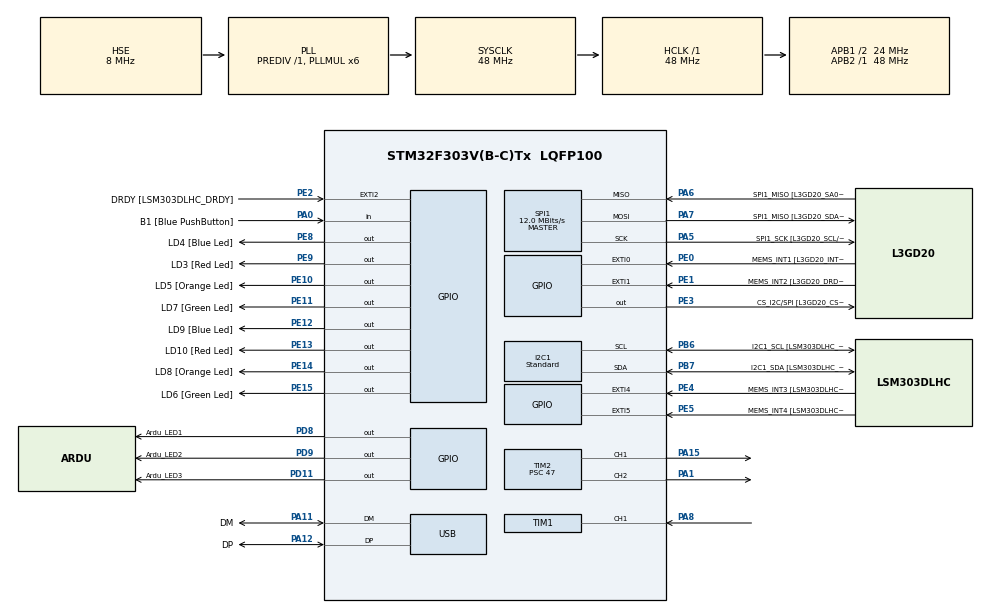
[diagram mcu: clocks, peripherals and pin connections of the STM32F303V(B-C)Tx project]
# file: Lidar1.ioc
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I2C1.I2C_Speed_Mode=I2C_Standard
I2C1.Speed=100
I2C1.Timing-I2C=0x2000090E
Mcu.Family=STM32F3
Mcu.Name=STM32F303V(B-C)Tx
Mcu.Package=LQFP100
NVIC.PriorityGroup=NVIC_PRIORITYGROUP_0
NVIC.TIM1_CC_IRQn=true\:0\:0\:false\:false\:true\:true\:true\:true
NVIC.TIM2_IRQn=true\:0\:0\:false\:false\:true\:true\:true\:true
PA0.GPIO_Label=B1 [Blue PushButton]
PA0.Signal=GPIO_Input
PA1.Signal=S_TIM2_CH2
PA11.GPIO_Label=DM
PA11.Mode=Device
PA11.Signal=USB_DM
PA12.GPIO_Label=DP
PA12.Mode=Device
PA12.Signal=USB_DP
PA13.GPIO_Label=SWDIO
PA13.Mode=Serial_Wire
PA13.Signal=SYS_JTMS-SWDIO
PA14.GPIO_Label=SWCLK
PA14.Mode=Serial_Wire
PA14.Signal=SYS_JTCK-SWCLK
PA15.Signal=S_TIM2_CH1_ETR
PA5.GPIO_Label=SPI1_SCK [L3GD20_SCL/SPC]
PA5.Mode=Full_Duplex_Master
PA5.Signal=SPI1_SCK
PA6.GPIO_Label=SPI1_MISO [L3GD20_SA0/SDO]
PA6.Mode=Full_Duplex_Master
PA6.Signal=SPI1_MISO
PA7.GPIO_Label=SPI1_MISO [L3GD20_SDA/SDI/SDO]
PA7.Mode=Full_Duplex_Master
PA7.Signal=SPI1_MOSI
PA8.Signal=S_TIM1_CH1
PB3.GPIO_Label=SWO
PB3.Signal=SYS_JTDO-TRACESWO
PB6.GPIO_Label=I2C1_SCL [LSM303DLHC_SCL]
PB6.GPIO_Pu=GPIO_PULLUP
PB6.Mode=I2C
PB6.Signal=I2C1_SCL
PB7.GPIO_Label=I2C1_SDA [LSM303DLHC_SDA]
PB7.GPIO_Pu=GPIO_PULLUP
PB7.Mode=I2C
PB7.Signal=I2C1_SDA
PC14-OSC32_IN.GPIO_Label=OSC32_IN
PC14-OSC32_IN.Signal=RCC_OSC32_IN
PC15-OSC32_OUT.GPIO_Label=OSC32_OUT
PC15-OSC32_OUT.Signal=RCC_OSC32_OUT
PD11.GPIO_Label=Ardu_LED3
PD11.Signal=GPIO_Output
PD8.GPIO_Label=Ardu_LED1
PD8.Signal=GPIO_Output
PD9.GPIO_Label=Ardu_LED2
PD9.Signal=GPIO_Output
PE0.GPIO_Label=MEMS_INT1 [L3GD20_INT1]
PE0.GPIO_ModeDefaultEXTI=GPIO_MODE_EVT_RISING
PE0.Signal=GPXTI0
PE1.GPIO_Label=MEMS_INT2 [L3GD20_DRDY/INT2]
PE1.GPIO_ModeDefaultEXTI=GPIO_MODE_EVT_RISING
PE1.Signal=GPXTI1
PE10.GPIO_Label=LD5 [Orange Led]
PE10.Signal=GPIO_Output
PE11.GPIO_Label=LD7 [Green Led]
PE11.Signal=GPIO_Output
PE12.GPIO_Label=LD9 [Blue Led]
PE12.Signal=GPIO_Output
PE13.GPIO_Label=LD10 [Red Led]
PE13.Signal=GPIO_Output
PE14.GPIO_Label=LD8 [Orange Led]
PE14.Signal=GPIO_Output
PE15.GPIO_Label=LD6 [Green Led]
PE15.Signal=GPIO_Output
PE2.GPIO_Label=DRDY [LSM303DLHC_DRDY]
PE2.GPIO_ModeDefaultEXTI=GPIO_MODE_EVT_RISING
PE2.Signal=GPXTI2
PE3.GPIO_Label=CS_I2C/SPI [L3GD20_CS_I2C/SPI]
PE3.Signal=GPIO_Output
PE4.GPIO_Label=MEMS_INT3 [LSM303DLHC_INT1]
PE4.GPIO_ModeDefaultEXTI=GPIO_MODE_EVT_RISING
PE4.Signal=GPXTI4
PE5.GPIO_Label=MEMS_INT4 [LSM303DLHC_INT2]
PE5.GPIO_ModeDefaultEXTI=GPIO_MODE_EVT_RISING
PE5.Signal=GPXTI5
PE8.GPIO_Label=LD4 [Blue Led]
PE8.Signal=GPIO_Output
PE9.GPIO_Label=LD3 [Red Led]
PE9.Signal=GPIO_Output
PF0-OSC_IN.GPIO_Label=OSC_IN
PF0-OSC_IN.Mode=HSE-External-Clock-Source
PF0-OSC_IN.Signal=RCC_OSC_IN
PF1-OSC_OUT.GPIO_Label=OSC_OUT
PF1-OSC_OUT.Signal=RCC_OSC_OUT
ProjectManager.HeapSize=0x200
ProjectManager.StackSize=0x400
ProjectManager.TargetToolchain=STM32CubeIDE
RCC.AHBFreq_Value=48000000
RCC.APB1CLKDivider=RCC_HCLK_DIV2
RCC.APB1Freq_Value=24000000
RCC.APB1TimFreq_Value=48000000
RCC.APB2Freq_Value=48000000
RCC.APB2TimFreq_Value=48000000
RCC.CortexFreq_Value=48000000
RCC.HCLKFreq_Value=48000000
RCC.HSE_VALUE=8000000
RCC.HSI_VALUE=8000000
RCC.LSE_VALUE=32768
RCC.PLLMUL=RCC_PLL_MUL6
RCC.SYSCLKFreq_VALUE=48000000
RCC.SYSCLKSourceVirtual=RCC_SYSCLKSOURCE_PLLCLK
RCC.USBFreq_Value=48000000
SH.S_TIM1_CH1.0=TIM1_CH1,Input_Capture1_from_TI1
SH.S_TIM2_CH1_ETR.0=TIM2_CH1,PWM Generation1 CH1
SH.S_TIM2_CH2.0=TIM2_CH2,PWM Generation2 CH2
SPI1.BaudRatePrescaler=SPI_BAUDRATEPRESCALER_4
SPI1.BaudRatePrescaler-Full_Duplex_Master=SPI_BAUDRATEPRESCALER_2
SPI1.CalculateBaudRate=12.0 MBits/s
SPI1.CalculateBaudRate-Full_Duplex_Master=24.0 MBits/s
SPI1.Direction=SPI_DIRECTION_2LINES
SPI1.Mode=SPI_MODE_MASTER
SPI1.Mode-Full_Duplex_Master=SPI_MODE_MASTER
SPI1.VirtualType=VM_MASTER
TIM1.Channel-Input_Capture1_from_TI1=TIM_CHANNEL_1
TIM1.ICPolarity_CH1=TIM_INPUTCHANNELPOLARITY_BOTHEDGE
TIM1.Prescaler=47
TIM2.AutoReloadPreload=TIM_AUTORELOAD_PRELOAD_ENABLE
TIM2.Channel-PWM\ Generation1\ CH1=TIM_CHANNEL_1
TIM2.Channel-PWM\ Generation2\ CH2=TIM_CHANNEL_2
TIM2.Period=20000
TIM2.Prescaler=47
TIM2.Pulse-PWM\ Generation1\ CH1=2000
TIM2.Pulse-PWM\ Generation2\ CH2=2000
VP_TIM1_VS_ClockSourceINT.Mode=Internal
board=STM32F3DISCOVERY

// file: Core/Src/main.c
/* USER CODE BEGIN Header */
/**
 ******************************************************************************
 * @file           : main.c
 * @brief          : Main program body
 ******************************************************************************
 * @attention
 *
 * Copyright (c) 2023 STMicroelectronics.
 * All rights reserved.
 *
 * This software is licensed under terms that can be found in the LICENSE file
 * in the root directory of this software component.
 * If no LICENSE file comes with this software, it is provided AS-IS.
 *
 ******************************************************************************
 */
/* USER CODE END Header */
#include "main.h"

/* USER CODE BEGIN Includes */

#include "ptu_definitions.h"
#include "ptu_i2c.h"
#include "serial.h"
#include "serialise.h"

#include "math.h"

/* USER CODE END Includes */

I2C_HandleTypeDef hi2c1;

SPI_HandleTypeDef hspi1;

TIM_HandleTypeDef htim1;
TIM_HandleTypeDef htim2;

PCD_HandleTypeDef hpcd_USB_FS;

void SystemClock_Config(void);
static void MX_GPIO_Init(void);
static void MX_I2C1_Init(void);
static void MX_SPI1_Init(void);
static void MX_USB_PCD_Init(void);
static void MX_TIM2_Init(void);
static void MX_TIM1_Init(void);

/* USER CODE BEGIN 0 */

// enable the clocks for desired peripherals (GPIOA, C and E)
void enable_clocks() {
	RCC->AHBENR |= RCC_AHBENR_GPIOAEN | RCC_AHBENR_GPIOCEN | RCC_AHBENR_GPIOEEN;
}

// initialise the discovery board I/O (just outputs: inputs are selected by default)
void initialise_board() {
	// get a pointer to the second half word of the MODER register (for outputs pe8-15)
	uint16_t *led_output_registers = ((uint16_t *)&(GPIOE->MODER)) + 1;
	*led_output_registers = 0x5555;
}

typedef union {
	uint8_t all_leds;
	struct {
		uint8_t led_pair_1 : 2;
		uint8_t led_pair_2 : 2;
		uint8_t led_set_of_4 : 4;
	} led_groups;
} LedRegister;

uint16_t last_capture = 0;
uint16_t diff = 0;

uint16_t rise_time = 0;
uint16_t last_period = 0;

void HAL_TIM_IC_CaptureCallback(TIM_HandleTypeDef *htim)
{
	uint8_t buffer[32];
	if (htim->Instance == TIM1 && htim->Channel == HAL_TIM_ACTIVE_CHANNEL_1)
	{
		uint16_t IC_Val1 = HAL_TIM_ReadCapturedValue(htim, TIM_CHANNEL_1); // read the first value

		if (HAL_GPIO_ReadPin(GPIOA, GPIO_PIN_8) == 1)
			rise_time = IC_Val1;
		else
			last_period = IC_Val1 - rise_time;

		diff = IC_Val1 - last_capture;
		last_capture = IC_Val1;
	}
}

typedef struct {
	uint8_t var1;
	uint32_t var2;
	uint8_t var3;
	uint32_t var4;
	uint8_t var5;
	uint8_t var6;
} struct_1;

typedef struct {
	uint32_t var2;
	uint32_t var4;
	uint8_t var1;
	uint8_t var3;
	uint8_t var5;
	uint8_t var6;
} struct_2;

/* USER CODE END 0 */

int main(void)
{
  /* USER CODE BEGIN 1 */

	// look at the size difference between these structs,
	//  they are because the 32 bit microcontroller
	//  packs the data so the divisions are in groups
	//  of 4bytes (4bytes=32bit)
	uint8_t size_1 = sizeof(struct_1);
	uint8_t size_2 = sizeof(struct_2);

	uint8_t string_to_send[64] = "This is a string !\r\n";

	enable_clocks();
	initialise_board();

	LedRegister *led_register = ((uint8_t*)&(GPIOE->ODR)) + 1;

	SerialInitialise(BAUD_115200, &USART1_PORT, 0x00);

	HAL_StatusTypeDef return_value = 0x00;

	volatile uint16_t vertical_PWM = 1000;
	volatile uint16_t horizontal_PWM = 1000;

  /* USER CODE END 1 */

  /* MCU Configuration--------------------------------------------------------*/

  /* Reset of all peripherals, Initializes the Flash interface and the Systick. */
	HAL_Init();
	SystemClock_Config();
	MX_GPIO_Init();
	MX_I2C1_Init();
    MX_SPI1_Init();
    MX_USB_PCD_Init();
    MX_TIM2_Init();
    MX_TIM1_Init();

	HAL_TIM_PWM_Start(&htim2, TIM_CHANNEL_1);
	HAL_TIM_PWM_Start(&htim2, TIM_CHANNEL_2);

	HAL_TIM_IC_Start_IT(&htim1, TIM_CHANNEL_1);

	// TIM 2 is setup with a prescaler that makes 1 count = 1 microsecond
	// Even with HAL, you can still set the values yourself
	TIM2->ARR = 20000; // 20000 = 20ms, which is the desired clock period for servos
	TIM2->CR1 |= TIM_CR1_ARPE; // this makes the timing not change until the next pulse is finished

	// note: for PWM if you continually change the clock period
	// you can get unexpected results. To remove this, set ARPE so that the
	// ARR settings are not activated until the next cycle.

	initialise_ptu_i2c(&hi2c1);

  /* USER CODE END 2 */

  /* Infinite loop */
  /* USER CODE BEGIN WHILE */
	// reset lidar board
	uint8_t reset_value = 0x00;
	return_value = HAL_I2C_Mem_Write(&hi2c1, LIDAR_WR, 0x00, 1, &reset_value, 1, 10);

	uint8_t PWM_direction_clockwise = 1;

	// delay for initialisation of the lidar
	HAL_Delay(100);

	int count=0;
	int distance=0;
	int flag=0;
	int actuality=0;

	while (flag != 1)
	{

		uint8_t lidar_value = 0x03;
		return_value = HAL_I2C_Mem_Write(&hi2c1, LIDAR_WR, 0x00, 1, &lidar_value, 1, 100);

		lidar_value = 0xff;

		uint8_t lidar_MSBa = 0x00;
		uint8_t lidar_LSBa = 0x00;

		volatile uint16_t lidar_distance = 0xff;

		uint16_t timeout;

		while ((lidar_value & 0x01) != 0x00) {
			return_value = HAL_I2C_Mem_Read(&hi2c1, LIDAR_RD, 0x01, 1, &lidar_value, 1, 100);

			return_value = HAL_I2C_Mem_Read(&hi2c1, LIDAR_RD, 0x0f, 1, &lidar_MSBa, 1, 100);
			return_value = HAL_I2C_Mem_Read(&hi2c1, LIDAR_RD, 0x10, 1, &lidar_LSBa, 1, 100);

			lidar_distance = ((lidar_MSBa << 8) | lidar_LSBa);
			timeout += 1;
			if (timeout > 0xff)
				break;
		}

		if (last_period > 4000)
			last_period = 5000;
		if (lidar_distance > 4000)
			lidar_distance = 5500;
		for (int i = 0; i < 10; i++)
		{
		  HAL_Delay(1);
		}

		distance = distance + lidar_distance;
		//distance=600;
		//count=10;
		if (count==10)
		{
			actuality= distance / 10;
			HAL_GPIO_WritePin(GPIOD,Ardu_LED2_Pin, GPIO_PIN_RESET);
			HAL_GPIO_WritePin(GPIOD,Ardu_LED3_Pin, GPIO_PIN_RESET);
			if(actuality >= 30 && actuality <= 50)
			{
				HAL_GPIO_WritePin(GPIOD,Ardu_LED1_Pin, GPIO_PIN_SET);
				//
				uint8_t ok_message[32] = "Correct\n";
				SerialOutputString(ok_message, &USART1_PORT);
				flag=1;
			}
			else if(actuality < 25)
			{
				HAL_GPIO_WritePin(GPIOD,Ardu_LED2_Pin, GPIO_PIN_SET);
				//
				uint8_t under_message[32] = "Too Close\n";
				SerialOutputString(under_message, &USART1_PORT);
			}
			else if(actuality > 55)
			{
				HAL_GPIO_WritePin(GPIOD,Ardu_LED3_Pin, GPIO_PIN_SET);
				//
				uint8_t overr_message[32] = "Too Far\n";
				SerialOutputString(over_message, &USART1_PORT);
			}
			count=0;
			actuality=0;
			distance=0;
		}
		count++;
	}
	while(1);

}
void SystemClock_Config(void)
{
  RCC_OscInitTypeDef RCC_OscInitStruct = {0};
  RCC_ClkInitTypeDef RCC_ClkInitStruct = {0};
  RCC_PeriphCLKInitTypeDef PeriphClkInit = {0};

  /** Initializes the RCC Oscillators according to the specified parameters
  * in the RCC_OscInitTypeDef structure.
  */
  RCC_OscInitStruct.OscillatorType = RCC_OSCILLATORTYPE_HSI|RCC_OSCILLATORTYPE_HSE;
  RCC_OscInitStruct.HSEState = RCC_HSE_BYPASS;
  RCC_OscInitStruct.HSEPredivValue = RCC_HSE_PREDIV_DIV1;
  RCC_OscInitStruct.HSIState = RCC_HSI_ON;
  RCC_OscInitStruct.HSICalibrationValue = RCC_HSICALIBRATION_DEFAULT;
  RCC_OscInitStruct.PLL.PLLState = RCC_PLL_ON;
  RCC_OscInitStruct.PLL.PLLSource = RCC_PLLSOURCE_HSE;
  RCC_OscInitStruct.PLL.PLLMUL = RCC_PLL_MUL6;
  if (HAL_RCC_OscConfig(&RCC_OscInitStruct) != HAL_OK)
  {
    Error_Handler();
  }

  /** Initializes the CPU, AHB and APB buses clocks
  */
  RCC_ClkInitStruct.ClockType = RCC_CLOCKTYPE_HCLK|RCC_CLOCKTYPE_SYSCLK
                              |RCC_CLOCKTYPE_PCLK1|RCC_CLOCKTYPE_PCLK2;
  RCC_ClkInitStruct.SYSCLKSource = RCC_SYSCLKSOURCE_PLLCLK;
  RCC_ClkInitStruct.AHBCLKDivider = RCC_SYSCLK_DIV1;
  RCC_ClkInitStruct.APB1CLKDivider = RCC_HCLK_DIV2;
  RCC_ClkInitStruct.APB2CLKDivider = RCC_HCLK_DIV1;

  if (HAL_RCC_ClockConfig(&RCC_ClkInitStruct, FLASH_LATENCY_1) != HAL_OK)
  {
    Error_Handler();
  }
  PeriphClkInit.PeriphClockSelection = RCC_PERIPHCLK_USB|RCC_PERIPHCLK_I2C1
                              |RCC_PERIPHCLK_TIM1;
  PeriphClkInit.I2c1ClockSelection = RCC_I2C1CLKSOURCE_HSI;
  PeriphClkInit.USBClockSelection = RCC_USBCLKSOURCE_PLL;
  PeriphClkInit.Tim1ClockSelection = RCC_TIM1CLK_HCLK;
  if (HAL_RCCEx_PeriphCLKConfig(&PeriphClkInit) != HAL_OK)
  {
    Error_Handler();
  }
}

static void MX_I2C1_Init(void)
{

  hi2c1.Instance = I2C1;
  hi2c1.Init.Timing = 0x2000090E;
  hi2c1.Init.OwnAddress1 = 0;
  hi2c1.Init.AddressingMode = I2C_ADDRESSINGMODE_7BIT;
  hi2c1.Init.DualAddressMode = I2C_DUALADDRESS_DISABLE;
  hi2c1.Init.OwnAddress2 = 0;
  hi2c1.Init.OwnAddress2Masks = I2C_OA2_NOMASK;
  hi2c1.Init.GeneralCallMode = I2C_GENERALCALL_DISABLE;
  hi2c1.Init.NoStretchMode = I2C_NOSTRETCH_DISABLE;
  if (HAL_I2C_Init(&hi2c1) != HAL_OK)
  {
    Error_Handler();
  }

  /** Configure Analogue filter
  */
  if (HAL_I2CEx_ConfigAnalogFilter(&hi2c1, I2C_ANALOGFILTER_ENABLE) != HAL_OK)
  {
    Error_Handler();
  }

  /** Configure Digital filter
  */
  if (HAL_I2CEx_ConfigDigitalFilter(&hi2c1, 0) != HAL_OK)
  {
    Error_Handler();
  }

}

static void MX_SPI1_Init(void)
{

  /* SPI1 parameter configuration*/
  hspi1.Instance = SPI1;
  hspi1.Init.Mode = SPI_MODE_MASTER;
  hspi1.Init.Direction = SPI_DIRECTION_2LINES;
  hspi1.Init.DataSize = SPI_DATASIZE_4BIT;
  hspi1.Init.CLKPolarity = SPI_POLARITY_LOW;
  hspi1.Init.CLKPhase = SPI_PHASE_1EDGE;
  hspi1.Init.NSS = SPI_NSS_SOFT;
  hspi1.Init.BaudRatePrescaler = SPI_BAUDRATEPRESCALER_4;
  hspi1.Init.FirstBit = SPI_FIRSTBIT_MSB;
  hspi1.Init.TIMode = SPI_TIMODE_DISABLE;
  hspi1.Init.CRCCalculation = SPI_CRCCALCULATION_DISABLE;
  hspi1.Init.CRCPolynomial = 7;
  hspi1.Init.CRCLength = SPI_CRC_LENGTH_DATASIZE;
  hspi1.Init.NSSPMode = SPI_NSS_PULSE_ENABLE;
  if (HAL_SPI_Init(&hspi1) != HAL_OK)
  {
    Error_Handler();
  }

}

static void MX_TIM1_Init(void)
{

  TIM_ClockConfigTypeDef sClockSourceConfig = {0};
  TIM_MasterConfigTypeDef sMasterConfig = {0};
  TIM_IC_InitTypeDef sConfigIC = {0};

  htim1.Instance = TIM1;
  htim1.Init.Prescaler = 47;
  htim1.Init.CounterMode = TIM_COUNTERMODE_UP;
  htim1.Init.Period = 65535;
  htim1.Init.ClockDivision = TIM_CLOCKDIVISION_DIV1;
  htim1.Init.RepetitionCounter = 0;
  htim1.Init.AutoReloadPreload = TIM_AUTORELOAD_PRELOAD_DISABLE;
  if (HAL_TIM_Base_Init(&htim1) != HAL_OK)
  {
    Error_Handler();
  }
  sClockSourceConfig.ClockSource = TIM_CLOCKSOURCE_INTERNAL;
  if (HAL_TIM_ConfigClockSource(&htim1, &sClockSourceConfig) != HAL_OK)
  {
    Error_Handler();
  }
  if (HAL_TIM_IC_Init(&htim1) != HAL_OK)
  {
    Error_Handler();
  }
  sMasterConfig.MasterOutputTrigger = TIM_TRGO_RESET;
  sMasterConfig.MasterOutputTrigger2 = TIM_TRGO2_RESET;
  sMasterConfig.MasterSlaveMode = TIM_MASTERSLAVEMODE_DISABLE;
  if (HAL_TIMEx_MasterConfigSynchronization(&htim1, &sMasterConfig) != HAL_OK)
  {
    Error_Handler();
  }
  sConfigIC.ICPolarity = TIM_INPUTCHANNELPOLARITY_BOTHEDGE;
  sConfigIC.ICSelection = TIM_ICSELECTION_DIRECTTI;
  sConfigIC.ICPrescaler = TIM_ICPSC_DIV1;
  sConfigIC.ICFilter = 0;
  if (HAL_TIM_IC_ConfigChannel(&htim1, &sConfigIC, TIM_CHANNEL_1) != HAL_OK)
  {
    Error_Handler();
  }

}

static void MX_TIM2_Init(void)
{

  TIM_MasterConfigTypeDef sMasterConfig = {0};
  TIM_OC_InitTypeDef sConfigOC = {0};

  htim2.Instance = TIM2;
  htim2.Init.Prescaler = 47;
  htim2.Init.CounterMode = TIM_COUNTERMODE_UP;
  htim2.Init.Period = 20000;
  htim2.Init.ClockDivision = TIM_CLOCKDIVISION_DIV1;
  htim2.Init.AutoReloadPreload = TIM_AUTORELOAD_PRELOAD_ENABLE;
  if (HAL_TIM_PWM_Init(&htim2) != HAL_OK)
  {
    Error_Handler();
  }
  sMasterConfig.MasterOutputTrigger = TIM_TRGO_RESET;
  sMasterConfig.MasterSlaveMode = TIM_MASTERSLAVEMODE_DISABLE;
  if (HAL_TIMEx_MasterConfigSynchronization(&htim2, &sMasterConfig) != HAL_OK)
  {
    Error_Handler();
  }
  sConfigOC.OCMode = TIM_OCMODE_PWM1;
  sConfigOC.Pulse = 2000;
  sConfigOC.OCPolarity = TIM_OCPOLARITY_HIGH;
  sConfigOC.OCFastMode = TIM_OCFAST_DISABLE;
  if (HAL_TIM_PWM_ConfigChannel(&htim2, &sConfigOC, TIM_CHANNEL_1) != HAL_OK)
  {
    Error_Handler();
  }
  if (HAL_TIM_PWM_ConfigChannel(&htim2, &sConfigOC, TIM_CHANNEL_2) != HAL_OK)
  {
    Error_Handler();
  }
  HAL_TIM_MspPostInit(&htim2);

}

static void MX_USB_PCD_Init(void)
{

  hpcd_USB_FS.Instance = USB;
  hpcd_USB_FS.Init.dev_endpoints = 8;
  hpcd_USB_FS.Init.speed = PCD_SPEED_FULL;
  hpcd_USB_FS.Init.phy_itface = PCD_PHY_EMBEDDED;
  hpcd_USB_FS.Init.low_power_enable = DISABLE;
  hpcd_USB_FS.Init.battery_charging_enable = DISABLE;
  if (HAL_PCD_Init(&hpcd_USB_FS) != HAL_OK)
  {
    Error_Handler();
  }

}

static void MX_GPIO_Init(void)
{
  GPIO_InitTypeDef GPIO_InitStruct = {0};

  /* GPIO Ports Clock Enable */
  __HAL_RCC_GPIOE_CLK_ENABLE();
  __HAL_RCC_GPIOC_CLK_ENABLE();
  __HAL_RCC_GPIOF_CLK_ENABLE();
  __HAL_RCC_GPIOA_CLK_ENABLE();
  __HAL_RCC_GPIOD_CLK_ENABLE();
  __HAL_RCC_GPIOB_CLK_ENABLE();

  /*Configure GPIO pin Output Level */
  HAL_GPIO_WritePin(GPIOE, CS_I2C_SPI_Pin|LD4_Pin|LD3_Pin|LD5_Pin
                          |LD7_Pin|LD9_Pin|LD10_Pin|LD8_Pin
                          |LD6_Pin, GPIO_PIN_RESET);

  /*Configure GPIO pin Output Level */
  HAL_GPIO_WritePin(GPIOD, Ardu_LED1_Pin|Ardu_LED2_Pin|Ardu_LED3_Pin, GPIO_PIN_RESET);

  /*Configure GPIO pins : DRDY_Pin MEMS_INT3_Pin MEMS_INT4_Pin MEMS_INT1_Pin
                           MEMS_INT2_Pin */
  GPIO_InitStruct.Pin = DRDY_Pin|MEMS_INT3_Pin|MEMS_INT4_Pin|MEMS_INT1_Pin
                          |MEMS_INT2_Pin;
  GPIO_InitStruct.Mode = GPIO_MODE_EVT_RISING;
  GPIO_InitStruct.Pull = GPIO_NOPULL;
  HAL_GPIO_Init(GPIOE, &GPIO_InitStruct);

  /*Configure GPIO pins : CS_I2C_SPI_Pin LD4_Pin LD3_Pin LD5_Pin
                           LD7_Pin LD9_Pin LD10_Pin LD8_Pin
                           LD6_Pin */
  GPIO_InitStruct.Pin = CS_I2C_SPI_Pin|LD4_Pin|LD3_Pin|LD5_Pin
                          |LD7_Pin|LD9_Pin|LD10_Pin|LD8_Pin
                          |LD6_Pin;
  GPIO_InitStruct.Mode = GPIO_MODE_OUTPUT_PP;
  GPIO_InitStruct.Pull = GPIO_NOPULL;
  GPIO_InitStruct.Speed = GPIO_SPEED_FREQ_LOW;
  HAL_GPIO_Init(GPIOE, &GPIO_InitStruct);

  /*Configure GPIO pin : B1_Pin */
  GPIO_InitStruct.Pin = B1_Pin;
  GPIO_InitStruct.Mode = GPIO_MODE_INPUT;
  GPIO_InitStruct.Pull = GPIO_NOPULL;
  HAL_GPIO_Init(B1_GPIO_Port, &GPIO_InitStruct);

  /*Configure GPIO pins : Ardu_LED1_Pin Ardu_LED2_Pin Ardu_LED3_Pin */
  GPIO_InitStruct.Pin = Ardu_LED1_Pin|Ardu_LED2_Pin|Ardu_LED3_Pin;
  GPIO_InitStruct.Mode = GPIO_MODE_OUTPUT_PP;
  GPIO_InitStruct.Pull = GPIO_NOPULL;
  GPIO_InitStruct.Speed = GPIO_SPEED_FREQ_LOW;
  HAL_GPIO_Init(GPIOD, &GPIO_InitStruct);

}

void Error_Handler(void)
{
	__disable_irq();
	while (1)
	{
	}
}
